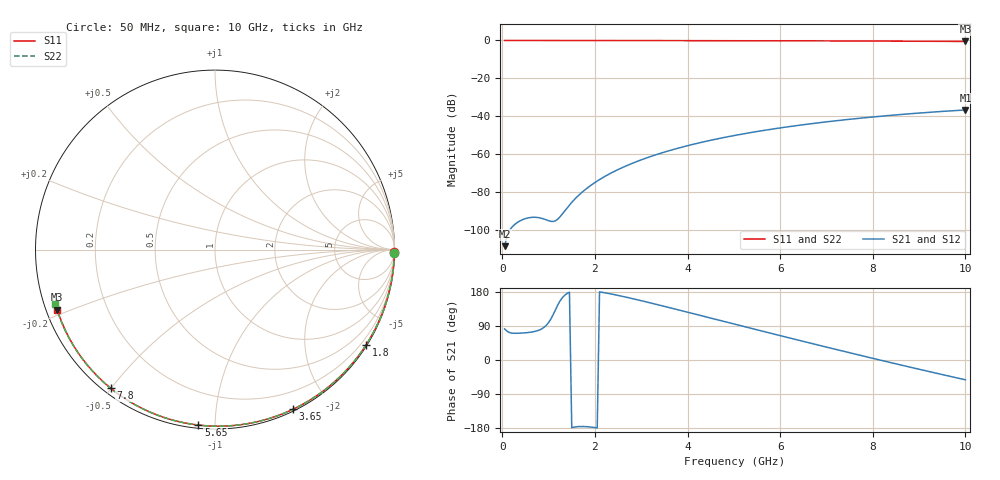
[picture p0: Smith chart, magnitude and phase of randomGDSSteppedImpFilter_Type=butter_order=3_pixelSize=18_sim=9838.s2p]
! freq	dB(S11)	phase(S11)	dB(S12)	phase(S12)
!  dB(S21)	phase(S21)	dB(S22)	phase(S22)
!S-par simulation data
#  GHz  S  DB  R 50
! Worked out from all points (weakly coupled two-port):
!   200 points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, 50 MHz to 10 GHz, reference 50 ohm
!   highest |S21| = -36.69 dB at 10 GHz (marker M1); lowest = -108.6 dB at 50 MHz (marker M2)
!   lowest |S11| = -0.5 dB at 10 GHz (marker M3), VSWR 32.62, Z = 1.58 - j9.18 ohm
!   |S11| at or under -10 dB: nowhere
!   |S22| runs from -0.5 to 0.0 dB; largest |S21 - S12| = 0
!   S11 on the Smith chart (normalised r, x): 50 MHz: open; 1.8 GHz: 0.03, -3.44; 3.65 GHz: 0.02, -1.60; 5.65 GHz: 0.02, -0.91; 7.8 GHz: 0.02, -0.50; 10 GHz: 0.03, -0.18
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0.05  -0.00 -0.9  -108.62 82.0  -108.62 82.0  -0.00 -0.9
0.45  -0.01 -8.2  -94.49 71.3  -94.49 71.3  -0.01 -8.4
0.85  -0.02 -15.5  -93.91 82.1  -93.91 82.1  -0.02 -15.8
1.7  -0.04 -30.6  -80.62 -175.5  -80.62 -175.5  -0.04 -31.3
1.75  -0.04 -31.5  -79.57 -175.5  -79.57 -175.5  -0.04 -32.2
1.8  -0.04 -32.4  -78.57 -175.8  -78.57 -175.8  -0.04 -33.1
1.95  -0.04 -35.0  -75.85 -177.5  -75.85 -177.5  -0.05 -35.8
2.1  -0.05 -37.6  -73.45 179.9  -73.45 179.9  -0.05 -38.5
2.3  -0.05 -41.1  -70.64 175.5  -70.64 175.5  -0.05 -42.0
2.5  -0.06 -44.6  -68.16 170.5  -68.16 170.5  -0.06 -45.5
2.9  -0.07 -51.4  -63.96 159.4  -63.96 159.4  -0.07 -52.5
3.4  -0.08 -59.8  -59.70 144.6  -59.70 144.6  -0.08 -61.0
3.65  -0.09 -63.9  -57.87 137.0  -57.87 137.0  -0.09 -65.2
4.3  -0.11 -74.4  -53.80 116.9  -53.80 116.9  -0.11 -75.9
5.05  -0.13 -86.2  -50.01 93.6  -50.01 93.6  -0.14 -87.9
5.65  -0.16 -95.4  -47.49 75.0  -47.49 75.0  -0.16 -97.2
6.15  -0.18 -102.9  -45.65 59.7  -45.65 59.7  -0.19 -104.8
6.7  -0.22 -111.1  -43.86 43.0  -43.86 43.0  -0.22 -113.0
7.8  -0.30 -127.0  -40.87 10.3  -40.87 10.3  -0.30 -129.1
8.35  -0.35 -135.0  -39.62 -5.8  -39.62 -5.8  -0.35 -137.0
9.2  -0.44 -147.3  -37.97 -30.1  -37.97 -30.1  -0.44 -149.4
10  -0.53 -159.2  -36.69 -52.2  -36.69 -52.2  -0.54 -161.2
